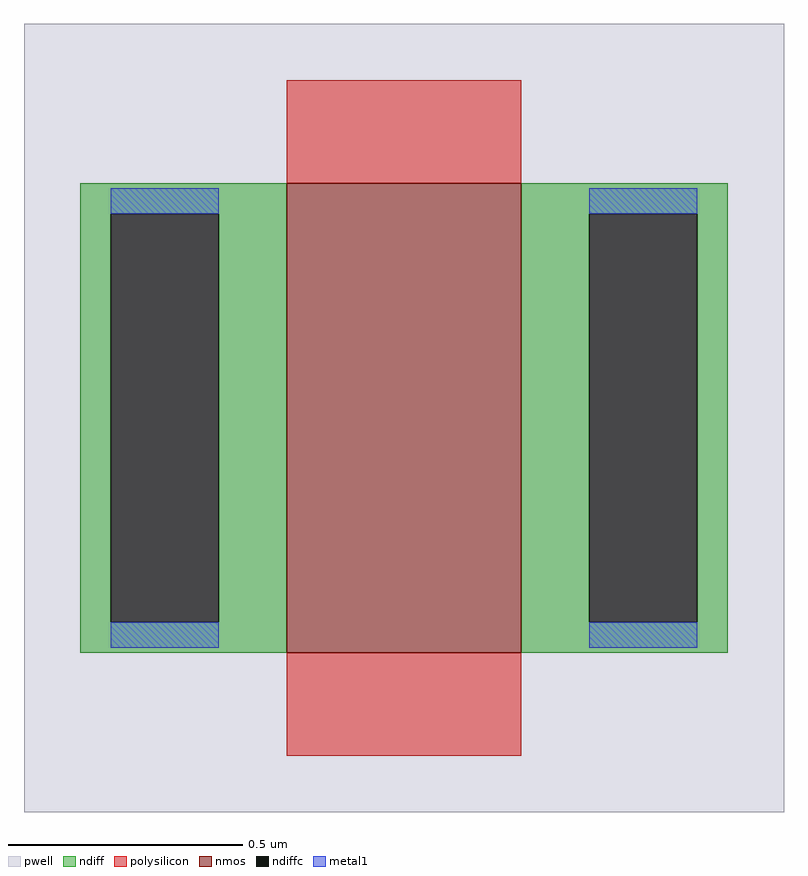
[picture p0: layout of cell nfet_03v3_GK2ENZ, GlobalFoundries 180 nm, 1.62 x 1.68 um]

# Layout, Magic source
magic
tech gf180mcuC
magscale 1 10
<< pwell >>
rect -162 -168 162 168
<< nmos >>
rect -50 -100 50 100
<< ndiff >>
rect -138 87 -50 100
rect -138 -87 -125 87
rect -79 -87 -50 87
rect -138 -100 -50 -87
rect 50 87 138 100
rect 50 -87 79 87
rect 125 -87 138 87
rect 50 -100 138 -87
<< ndiffc >>
rect -125 -87 -79 87
rect 79 -87 125 87
<< polysilicon >>
rect -50 100 50 144
rect -50 -144 50 -100
<< metal1 >>
rect -125 87 -79 98
rect -125 -98 -79 -87
rect 79 87 125 98
rect 79 -98 125 -87
<< properties >>
string gencell nfet_03v3
string library gf180mcu
string parameters w 1 l 0.5 m 1 nf 1 diffcov 100 polycov 100 guard 0 glc 0 grc 0 gtc 0 gbc 0 tbcov 100 rlcov 100 topc 0 botc 0 poverlap 0 doverlap 1 lmin 0.28 wmin 0.22 full_metal 0 compatible {nfet_03v3 nfet_06v0 nfet_06v0_nvt}
<< end >>
